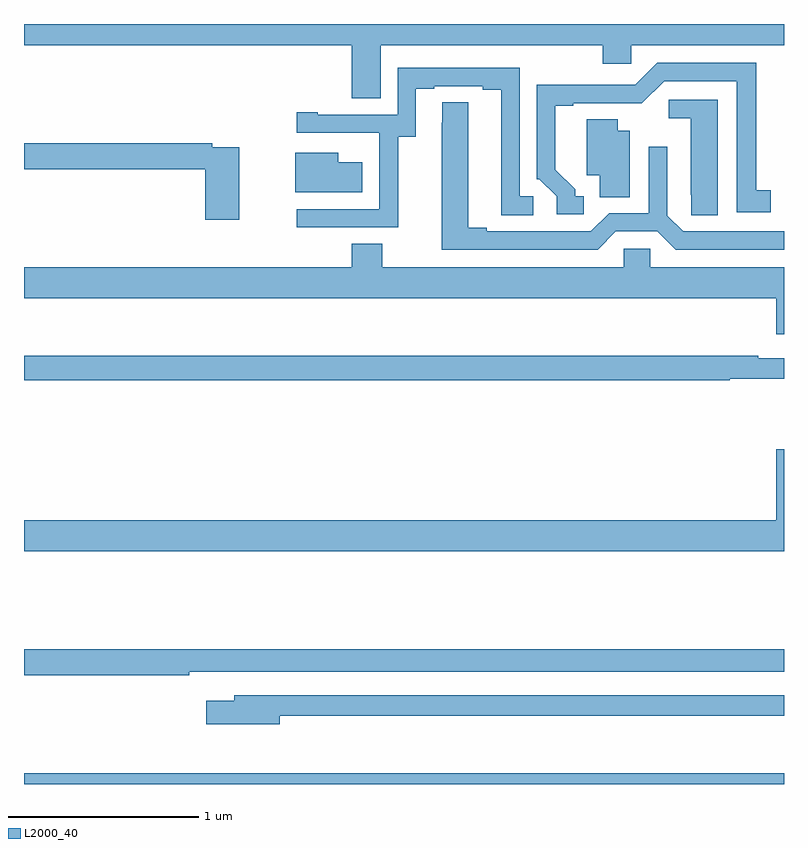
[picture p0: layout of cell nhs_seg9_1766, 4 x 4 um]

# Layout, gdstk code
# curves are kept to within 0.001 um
import gdstk
lib = gdstk.Library(unit=1e-6, precision=1e-09)
def R(c, l, rs):  # rectangles x0, y0, x1, y1
    for r in rs: c.add(gdstk.rectangle(r[:2], r[2:], *l))
def P(c, l, *ps):  # polygons
    for p in ps: c.add(gdstk.Polygon(p, *l))
L2000_40 = (2000, 40)

nhs_seg9_1766 = lib.new_cell('nhs_seg9_1766')
R(nhs_seg9_1766, L2000_40, [(209,1224.5,213,1224.556)])
P(nhs_seg9_1766, L2000_40, [(210.877,1228.388),(212.045,1228.388),(212.045,1228.29),(212.196,1228.29),(212.196,1228.388),(213,1228.388),(213,1228.5),(209,1228.5),(209,1228.388),(210.725,1228.388),(210.725,1228.108),(210.877,1228.108)],
  [(211.945,1227.594),(211.9,1227.594),(211.9,1227.629),(211.795,1227.734),(211.795,1228.071),(211.891,1228.071),(211.891,1228.083),(212.252,1228.082),(212.37,1228.2),(212.75,1228.2),(212.75,1227.51),(212.929,1227.51),(212.929,1227.626),(212.854,1227.626),(212.854,1228.296),(212.334,1228.296),(212.217,1228.179),(211.961,1228.179),(211.961,1228.181),(211.698,1228.181),(211.698,1227.684),(211.713,1227.684),(211.803,1227.594),(211.803,1227.498),(211.945,1227.498)],
  [(210.969,1227.907),(211.063,1227.907),(211.063,1228.158),(211.159,1228.158),(211.159,1228.173),(211.415,1228.173),(211.415,1228.153),(211.511,1228.153),(211.511,1227.493),(211.681,1227.493),(211.681,1227.594),(211.608,1227.594),(211.608,1228.269),(210.966,1228.269),(210.966,1228.023),(210.547,1228.023),(210.547,1228.036),(210.435,1228.036),(210.435,1227.927),(210.869,1227.927),(210.869,1227.926),(210.87,1227.926),(210.87,1227.525),(210.435,1227.525),(210.435,1227.429),(210.969,1227.429)],
  [(212.65,1228.101),(212.394,1228.101),(212.394,1228.004),(212.51,1228.004),(212.51,1227.601),(212.511,1227.601),(212.511,1227.493),(212.65,1227.493)],
  [(212.115,1227.408),(212.333,1227.408),(212.429,1227.312),(213,1227.312),(213,1227.408),(212.469,1227.408),(212.385,1227.492),(212.385,1227.853),(212.289,1227.853),(212.289,1227.504),(212.079,1227.504),(211.983,1227.408),(211.435,1227.408),(211.435,1227.428),(211.339,1227.428),(211.339,1228.088),(211.2,1228.088),(211.199,1227.312),(212.019,1227.312)],
  [(212.188,1227.937),(212.125,1227.937),(212.125,1227.998),(211.961,1227.998),(211.961,1227.704),(212.03,1227.704),(212.03,1227.589),(212.188,1227.589)],
  [(210.132,1227.852),(209.99,1227.852),(209.99,1227.872),(209,1227.872),(209,1227.736),(209.954,1227.736),(209.954,1227.471),(210.132,1227.471)],
  [(210.781,1227.772),(210.655,1227.772),(210.655,1227.823),(210.428,1227.823),(210.428,1227.614),(210.781,1227.614)],
  [(213,1227.22),(212.295,1227.22),(212.295,1227.318),(212.157,1227.318),(212.157,1227.22),(210.885,1227.22),(210.885,1227.344),(210.725,1227.344),(210.725,1227.22),(209,1227.22),(209,1227.056),(212.96,1227.056),(212.96,1226.868),(213,1226.868)],
  [(212.714,1226.634),(213,1226.634),(213,1226.742),(212.864,1226.742),(212.864,1226.755),(209,1226.755),(209,1226.626),(212.714,1226.626)],
  [(213,1226.263),(212.96,1226.263),(212.96,1225.888),(209,1225.888),(209,1225.724),(213,1225.724)],
  [(209.87,1225.092),(213,1225.092),(213,1225.208),(209,1225.208),(209,1225.072),(209.87,1225.072)],
  [(210.346,1224.858),(213,1224.858),(213,1224.966),(210.107,1224.966),(210.107,1224.937),(209.958,1224.937),(209.958,1224.815),(210.346,1224.815)])

lib.write_gds('nhs_seg9_1766.gds')
